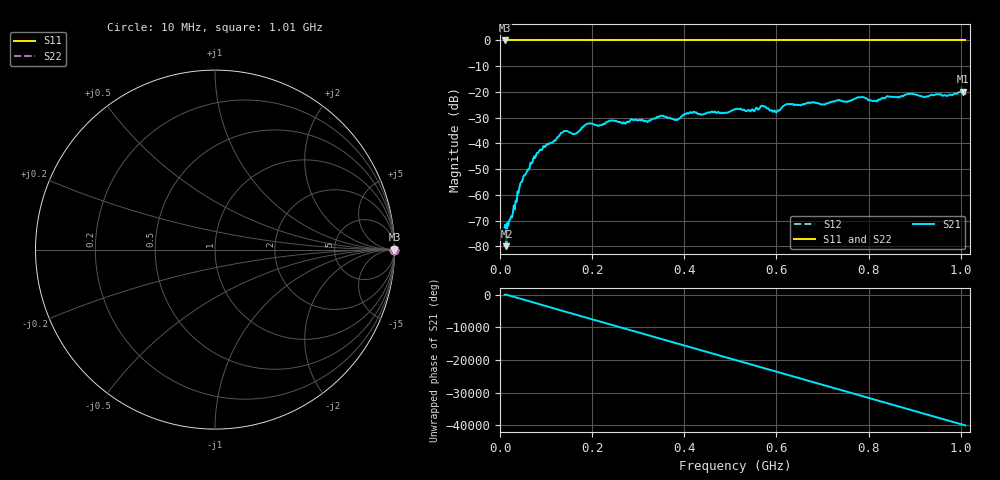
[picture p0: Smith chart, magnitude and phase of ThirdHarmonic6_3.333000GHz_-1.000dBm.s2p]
! 8/17/2025 10:28:34 AM
! C:\ANRITSUVNA\TEMP\TEMP.S2P
! CHANNEL.1
! TR.MEASUREMENT
! RAW.DATA
! RF.CORRECTION.OFF
! AVERAGING.OFF
! IF.BANDWIDTH: 5KHZ
! SWEEPTYPE:  FREQ.SWEEP(Linear)
! Reference Plane Port Info
! PORT:  PORT1  PORT2
! DISTANCE:  0  m  0  m
! TIME:  0  s  0  s
! PHASE.OFFSET:  0  deg.  0  deg.
! LOSS:  0  dB  0  dB
! REF.LOSS:  0  dB  0  dB
! REF.FREQ:  0  Hz  0  Hz
! Power Info
! POWER:  -20  dBm  -20  dBm
! EFF.POWER:  -20  dBm  -20  dBm
! SOURCE.ATTEN:  0  dB  0  dB
! TEST.ATTEN:  0  dB  0  dB
# GHZ S RI R 50.0
! FREQ.GHZ  S11RE  S11IM  S21RE  S21IM  S12RE  S12IM  S22RE  S22IM
!; PortSelection: Port_12
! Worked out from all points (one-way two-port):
!   501 points, 10 MHz to 1.01 GHz, reference 50 ohm
!   highest |S21| = -19.87 dB at 1.004 GHz (marker M1); lowest = -79.9 dB at 14 MHz (marker M2)
!   lowest |S11| = 0.0 dB at 10 MHz (marker M3)
!   |S11| at or under -10 dB: nowhere
!   |S22| runs from 0.0 to 0.0 dB; largest |S21 - S12| = 1.1
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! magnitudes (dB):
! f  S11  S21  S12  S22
! 10 MHz  0.0  -72.5  0.0  0.0
! 14 MHz  0.0  -79.9  0.0  0.0
! 18 MHz  0.0  -71.9  0.0  0.0
! 48 MHz  0.0  -54.9  0.0  0.0
! 76 MHz  0.0  -45.7  0.0  0.0
! 136 MHz  0.0  -35.7  0.0  0.0
! 162 MHz  0.0  -36.4  0.0  0.0
! 178 MHz  0.0  -33.8  0.0  0.0
! 192 MHz  0.0  -32.3  0.0  0.0
! 344 MHz  0.0  -29.8  0.0  0.0
! 382 MHz  0.0  -30.8  0.0  0.0
! 416 MHz  0.0  -28.2  0.0  0.0
! 510 MHz  0.0  -26.7  0.0  0.0
! 570 MHz  0.0  -25.4  0.0  0.0
! 596 MHz  0.0  -27.2  0.0  0.0
! 624 MHz  0.0  -24.7  0.0  0.0
! 678 MHz  0.0  -24.0  0.0  0.0
! 784 MHz  0.0  -22.1  0.0  0.0
! 814 MHz  0.0  -23.4  0.0  0.0
! 844 MHz  0.0  -21.8  0.0  0.0
! 1.004 GHz  0.0  -19.9  0.0  0.0
! 1.01 GHz  0.0  -20.8  0.0  0.0
